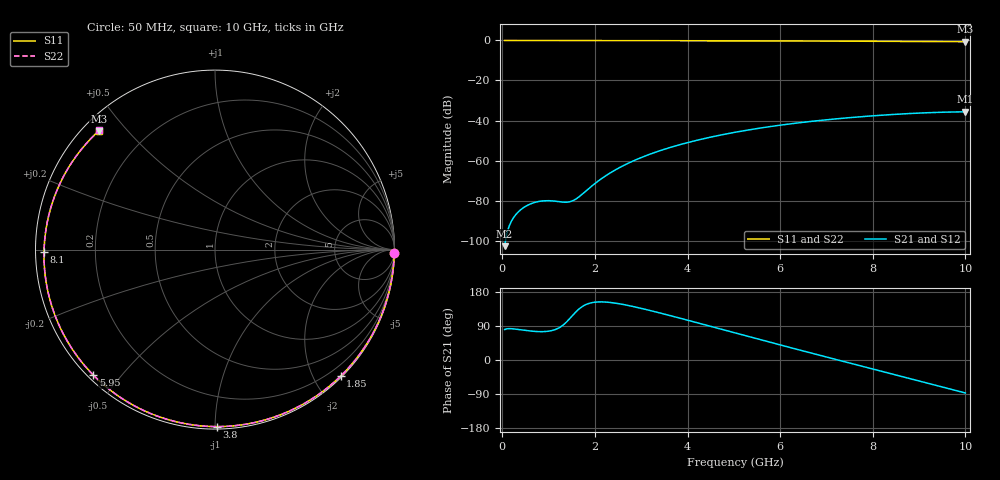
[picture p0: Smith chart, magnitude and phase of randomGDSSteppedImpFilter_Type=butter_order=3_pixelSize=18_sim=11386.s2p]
! freq	dB(S11)	phase(S11)	dB(S12)	phase(S12)
!  dB(S21)	phase(S21)	dB(S22)	phase(S22)
!S-par simulation data
#  GHz  S  DB  R 50
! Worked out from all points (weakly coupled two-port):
!   200 points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, 50 MHz to 10 GHz, reference 50 ohm
!   highest |S21| = -35.64 dB at 10 GHz (marker M1); lowest = -102.7 dB at 50 MHz (marker M2)
!   lowest |S11| = -0.7 dB at 10 GHz (marker M3), VSWR 25.88, Z = 2.27 + j21 ohm
!   |S11| at or under -10 dB: nowhere
!   |S22| runs from -0.7 to 0.0 dB; largest |S21 - S12| = 0
!   S11 on the Smith chart (normalised r, x): 50 MHz: 2, -95; 1.85 GHz: 0.02, -2.40; 3.8 GHz: 0.01, -1.01; 5.95 GHz: 0.02, -0.42; 8.1 GHz: 0.02, -0.01; 10 GHz: 0.05, +0.42
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0.05  -0.00 -1.2  -102.73 80.3  -102.73 80.3  -0.00 -1.2
0.75  -0.02 -18.6  -80.61 75.1  -80.61 75.1  -0.02 -18.6
1.5  -0.05 -36.9  -80.26 115.2  -80.26 115.2  -0.05 -36.9
1.6  -0.05 -39.3  -79.03 128.3  -79.03 128.3  -0.05 -39.3
1.75  -0.05 -42.8  -76.31 142.7  -76.31 142.7  -0.05 -42.9
1.85  -0.06 -45.2  -74.32 148.4  -74.32 148.4  -0.06 -45.3
2.15  -0.07 -52.3  -68.88 153.4  -68.88 153.4  -0.07 -52.3
2.5  -0.08 -60.4  -63.88 148.9  -63.88 148.9  -0.08 -60.4
2.9  -0.09 -69.5  -59.43 139.1  -59.43 139.1  -0.09 -69.6
3.4  -0.11 -80.6  -55.09 124.2  -55.09 124.2  -0.11 -80.7
3.8  -0.12 -89.3  -52.27 111.6  -52.27 111.6  -0.12 -89.4
4.4  -0.14 -102.1  -48.79 92.1  -48.79 92.1  -0.14 -102.2
5.05  -0.18 -115.6  -45.76 70.8  -45.76 70.8  -0.18 -115.8
5.95  -0.23 -134.1  -42.47 41.5  -42.47 41.5  -0.23 -134.2
6.7  -0.29 -149.4  -40.35 17.4  -40.35 17.4  -0.29 -149.6
7.4  -0.35 -164.0  -38.75 -4.8  -38.75 -4.8  -0.35 -164.2
8.1  -0.42 -179.1  -37.48 -26.7  -37.48 -26.7  -0.42 -179.3
8.35  -0.45 175.3  -37.09 -34.6  -37.09 -34.6  -0.45 175.0
8.8  -0.50 164.9  -36.49 -48.7  -36.49 -48.7  -0.50 164.6
9.2  -0.56 155.2  -36.08 -61.4  -36.08 -61.4  -0.56 154.9
9.6  -0.61 145.1  -35.79 -74.2  -35.79 -74.2  -0.61 144.8
10  -0.67 134.4  -35.64 -87.0  -35.64 -87.0  -0.67 134.1
